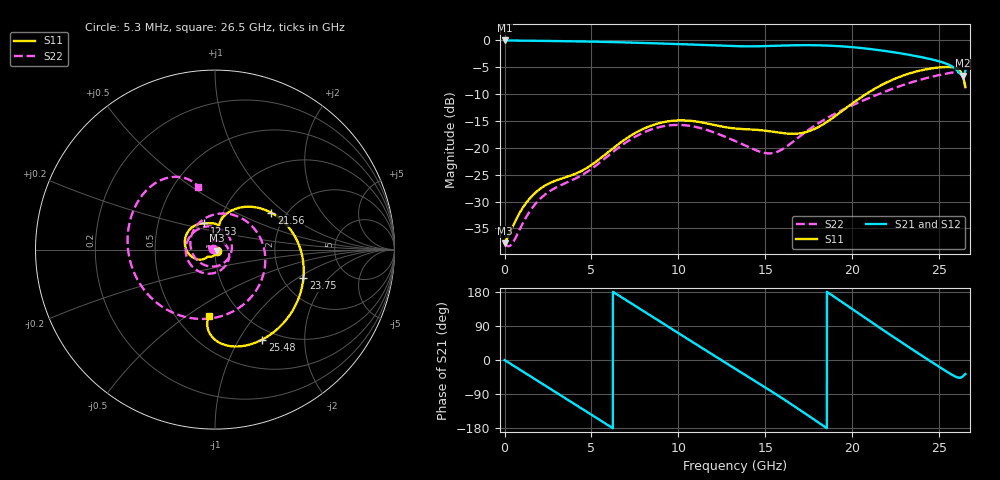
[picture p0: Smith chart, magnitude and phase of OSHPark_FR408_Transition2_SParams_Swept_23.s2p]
! TOUCHSTONE file generated by CST MICROWAVE STUDIO
! Date and time: Tue Jan  7 09:43:36 2020
! Project name: OSHPark_FR408_Transition2.cst
! Parameters = {GND_Plane_XMax=11.75; Cap_Disk_XOffset=0; Cap_Disk2_YCenter=-1.03; Cap_Disk_YCenter=1.03; Cap_Disk_XCenter=7.39; Cap_Disk_Radius=0.5; BottomSupport_Left_YMax=4.76; BottomSupport_Left_YMin=3.74; BottomSupport_Right_YMax=-3.74; BottomSupport_Right_YMin=-4.76; BottomSupport_XMax=11.64; 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
! Header version: 2015
! Port assignment regex: !\s*Touchstone port\s*([0-9]+)\s*=\s*CST MWS port\s*([0-9]+)\s*\(\"(.*)\"\)(\s*mode\s*([0-9]+))?.*
! Touchstone port assignment:
! Touchstone port 1 = CST MWS port 1 ("")
! Touchstone port 2 = CST MWS port 2 ("")
# GHz S MA R 50
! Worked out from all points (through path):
!   5000 points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, 5.3 MHz to 26.5 GHz, reference 50 ohm
!   highest |S21| = 0.00 dB at 5.3 MHz (marker M1); lowest = -6.6 dB at 26.35 GHz (marker M2)
!   group delay of S21, straight-line fit = 81.9 ps
!   lowest |S11| = -37.8 dB at 5.3 MHz (marker M3), VSWR 1.03, Z = 51.2 - j0.531 ohm
!   |S11| at or under -10 dB: start of sweep to 20.78 GHz
!   |S22| runs from -38.3 to -5.9 dB; largest |S21 - S12| = 0
!   S11 on the Smith chart (normalised r, x): 5.3 MHz: 1.02, -0.01; 12.53 GHz: 0.85, +0.26; 21.56 GHz: 1.68, +0.80; 23.75 GHz: 2.59, -1.12; 25.48 GHz: 0.86, -1.26; 26.5 GHz: 0.72, -0.62
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0.0053  0.01295 -23.6  0.9999 -0.2  0.9999 -0.2  0.01302 155.7
1.1183  0.02875 -89.5  0.996 -32.3  0.996 -32.3  0.02083 -170.5
2.4062  0.04523 -119.7  0.9901 -69.4  0.9901 -69.4  0.03754 154.2
3.4026  0.05257 -131.7  0.9849 -98.2  0.9849 -98.2  0.04616 111.4
4.4255  0.06088 -136.0  0.979 -127.7  0.979 -127.7  0.05542 59.0
5.512  0.07986 -139.5  0.9716 -159.2  0.9716 -159.2  0.0737 1.9
6.5296  0.1077 -149.3  0.963 171.3  0.963 171.3  0.0996 -45.7
8.8404  0.1688 171.5  0.9385 104.4  0.9385 104.4  0.1551 -135.8
10.441  0.1798 141.4  0.9206 58.1  0.9206 58.1  0.1619 168.4
12.5292  0.1574 112.0  0.894 -2.1  0.894 -2.1  0.1298 97.0
13.2553  0.1514 105.4  0.8855 -22.8  0.8855 -22.8  0.1159 68.9
15.5767  0.1401 85.0  0.8922 -89.4  0.8922 -89.4  0.09056 -73.3
16.5784  0.1351 80.9  0.9015 -119.5  0.9015 -119.5  0.1138 -146.1
17.6702  0.1461 80.2  0.9033 -153.0  0.9033 -153.0  0.1545 147.0
19.3291  0.2154 71.1  0.8828 155.1  0.8828 155.1  0.2211 59.0
20.4792  0.2938 54.3  0.8512 119.1  0.8512 119.1  0.2697 4.7
21.5551  0.3753 33.1  0.8116 85.6  0.8116 85.6  0.3186 -41.0
22.0851  0.4145 21.5  0.7894 69.3  0.7894 69.3  0.3439 -62.1
23.7493  0.5173 -17.8  0.7107 18.8  0.7107 18.8  0.4237 -124.6
25.4771  0.5662 -62.3  0.601 -32.0  0.601 -32.0  0.4936 169.5
26.3463  0.4657 -93.8  0.4689 -43.4  0.4689 -43.4  0.4607 118.3
26.5  0.3704 -94.8  0.5225 -37.0  0.5225 -37.0  0.3573 104.5
